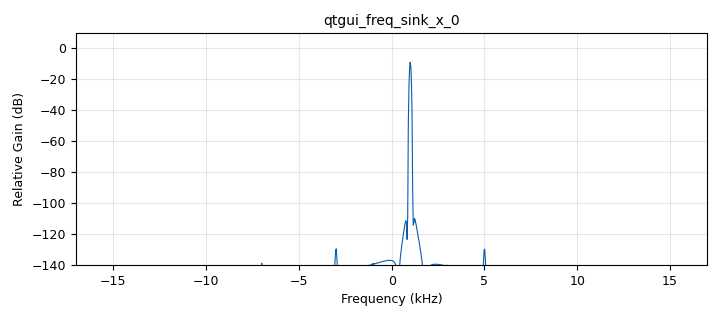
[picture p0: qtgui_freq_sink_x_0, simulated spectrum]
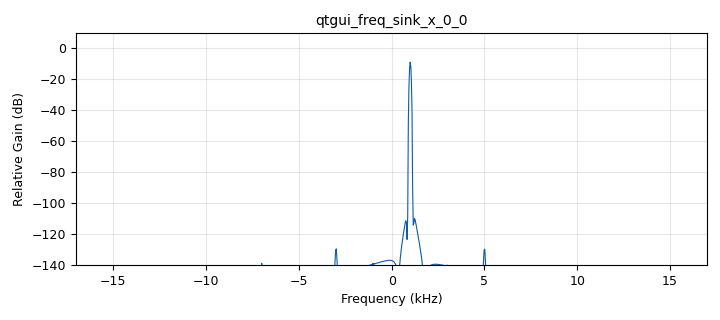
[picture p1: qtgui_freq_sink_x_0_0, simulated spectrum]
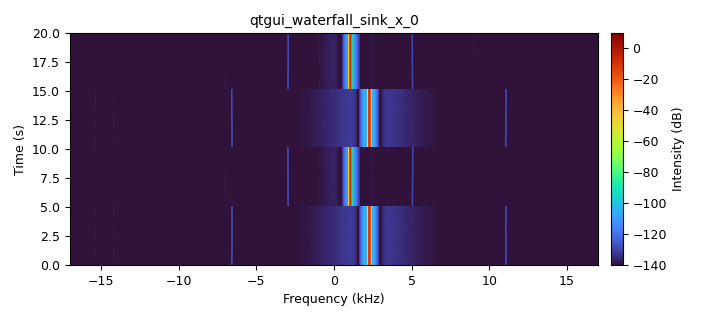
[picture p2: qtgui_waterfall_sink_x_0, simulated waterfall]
options:
  parameters:
    author: nana_van
    generate_options: qt_gui
    id: step_a_1
    output_language: python
    title: Not titled yet
  states: {}

blocks:
- name: samp_rate
  id: variable
  parameters:
    value: '34000'
  states: {}
- name: analog_sig_source_x_0
  id: analog_sig_source_x
  parameters:
    amp: '1'
    freq: '1000'
    offset: '0'
    phase: '0'
    samp_rate: samp_rate
    type: complex
    waveform: analog.GR_COS_WAVE
  states: {}
- name: analog_sig_source_x_0_0
  id: analog_sig_source_x
  parameters:
    amp: '1'
    freq: '2200'
    offset: '0'
    phase: '0'
    samp_rate: samp_rate
    type: complex
    waveform: analog.GR_COS_WAVE
  states: {}
- name: analog_sig_source_x_1
  id: analog_sig_source_x
  parameters:
    amp: '1'
    freq: '0.1'
    offset: '0'
    phase: '0'
    samp_rate: samp_rate
    type: int
    waveform: analog.GR_SQR_WAVE
  states: {}
- name: blocks_throttle2_0
  id: blocks_throttle2
  parameters:
    samples_per_second: samp_rate
    type: complex
  states: {}
- name: blocks_throttle2_0_0
  id: blocks_throttle2
  parameters:
    samples_per_second: samp_rate
    type: complex
  states: {}
- name: epy_block_0
  id: epy_block
  parameters:
    _source_code: |
      """
      Embedded Python Blocks:

      Each time this file is saved, GRC will instantiate the first class it finds
      to get ports and parameters of your block. The arguments to __init__  will
      be the parameters. All of them are required to have default values!
      """

      import numpy as np
      from gnuradio import gr


      class blk(gr.sync_block):  # other base classes are basic_block, decim_block, interp_block
          """Python Block to change signal 0 to signal 1 based on the pulse"""

          def __init__(self):  # only default arguments here
              gr.sync_block.__init__(
                  self,
                  name='Signal Switch',   # will show up in GRC
                  in_sig=[np.complex64,np.complex64,np.int32],
                  out_sig=[np.complex64]
              )
              

          def work(self, input_items, output_items):
              """pulse 1: signal 0 on, signal 1 off; pulse -1: signal 0 off, signal 1 off"""
              if input_items[2][0] == 1:
                  output_items[0][:] = input_items[0]
              else:
                  output_items[0][:] = input_items[1]
              return len(output_items[0])
  states: {}
- name: qtgui_freq_sink_x_0
  id: qtgui_freq_sink_x
  parameters:
    bw: samp_rate
    fc: '0'
    fftsize: '1024'
    type: complex
  states: {}
- name: qtgui_freq_sink_x_0_0
  id: qtgui_freq_sink_x
  parameters:
    bw: samp_rate
    fc: '0'
    fftsize: '1024'
    type: complex
  states: {}
- name: qtgui_waterfall_sink_x_0
  id: qtgui_waterfall_sink_x
  parameters:
    bw: samp_rate
    fc: '0'
    fftsize: '1024'
    type: complex
  states: {}

connections:
- [analog_sig_source_x_0, '0', blocks_throttle2_0_0, '0']
- [analog_sig_source_x_0, '0', epy_block_0, '0']
- [analog_sig_source_x_0_0, '0', epy_block_0, '1']
- [analog_sig_source_x_1, '0', epy_block_0, '2']
- [blocks_throttle2_0, '0', qtgui_freq_sink_x_0, '0']
- [blocks_throttle2_0, '0', qtgui_waterfall_sink_x_0, '0']
- [blocks_throttle2_0_0, '0', qtgui_freq_sink_x_0_0, '0']
- [epy_block_0, '0', blocks_throttle2_0, '0']

metadata:
  file_format: 1
  grc_version: 3.10.9.2
